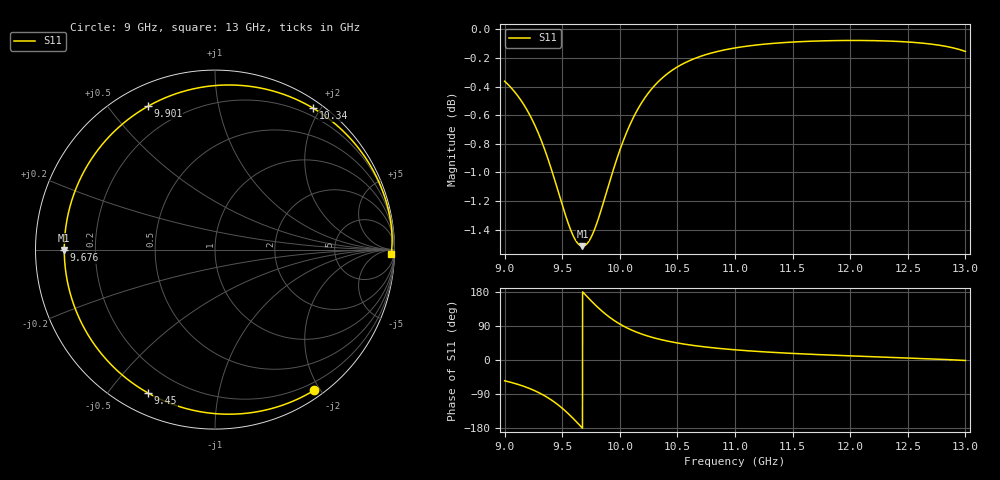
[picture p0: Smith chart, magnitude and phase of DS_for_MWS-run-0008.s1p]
! TOUCHSTONE file generated by CST DESIGN STUDIO
! Date and time: Tue Feb  4 17:59:53 2025
! Project name: C:\Work\MatlabApps\UnitCellOptimizationMatlab\CST\unitcell.cst
! Tree item: Tasks\Sweep1\SPara1\S-Parameters
! Header version: 2024
! Port assignment regex: !\s*Touchstone port\s*([0-9]+)\s*=\s*(CST MWS port|CST DES external port|CST DES block port)\s*(.+)\s* \(\"(.*)\"\)(\s*mode\s*([0-9]+))?.*
! Touchstone port assignment:
! Touchstone port 1 = CST DES external port 1 ("")
# GHz S MA R 50
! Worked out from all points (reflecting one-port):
!   4001 points, 9 GHz to 13 GHz, reference 50 ohm
!   lowest |S11| = -1.5 dB at 9.676 GHz (marker M1), VSWR 11.49, Z = 4.35 - j0.0433 ohm
!   phase of S11 starts at -55 deg and turns -307 deg over the sweep
!   S11 on the Smith chart (normalised r, x): 9 GHz: 0.10, -1.93; 9.45 GHz: 0.09, -0.63; 9.676 GHz: 0.09, -0.00; 9.901 GHz: 0.09, +0.63; 10.34 GHz: 0.10, +1.91; 13 GHz: 43, -55
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9  0.9592 -54.8
9.116  0.9477 -64.4
9.23  0.9315 -76.9
9.352  0.9069 -95.2
9.403  0.8943 -104.9
9.45  0.8818 -115.0
9.5  0.8683 -127.2
9.547  0.8566 -140.0
9.597  0.8466 -154.8
9.637  0.8416 -167.4
9.676  0.8398 -179.9
9.734  0.8435 161.5
9.798  0.8549 142.1
9.849  0.8675 128.0
9.901  0.8816 115.2
9.949  0.8945 104.7
10  0.9073 94.9
10.08  0.9246 82.1
10.16  0.9384 71.8
10.245  0.9498 63.0
10.338  0.9592 55.2
10.5  0.9703 44.9
10.719  0.9791 35.3
11  0.9852 26.9
11.5  0.9899 17.4
12  0.9912 10.9
12.5  0.99 5.4
13  0.9825 -1.3
